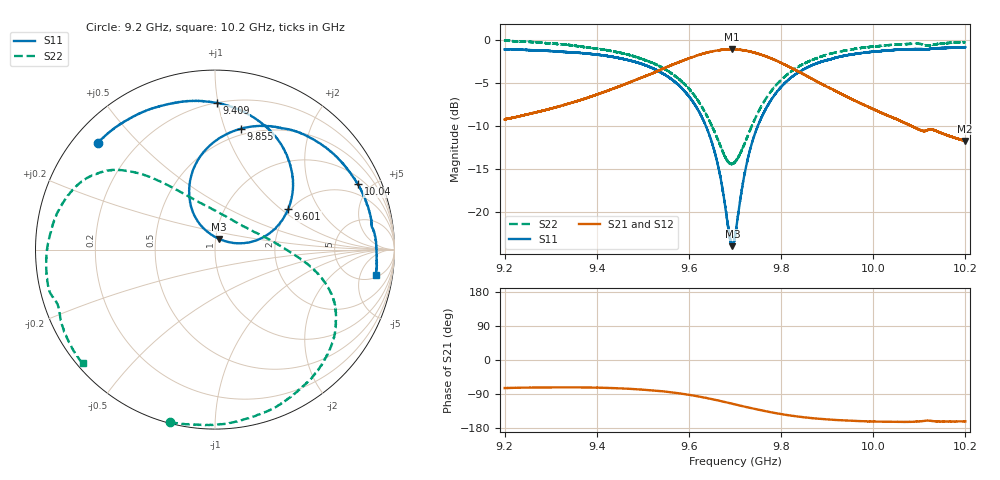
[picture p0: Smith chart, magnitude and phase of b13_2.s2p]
!Agilent Technologies,N5242A,MY51221714,A.09.90.19
!Agilent N5242A: A.09.90.19
!Date: Tuesday, March 26, 2024 16:49:14
!Correction: S11(Full 2 Port(1,2))
!S21(Full 2 Port(1,2))
!S12(Full 2 Port(1,2))
!S22(Full 2 Port(1,2))
!S2P File: Measurements: S11, S21, S12, S22:
# Hz S  dB  R 50
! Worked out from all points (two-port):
!   16001 points, 9.2 GHz to 10.2 GHz, reference 50 ohm
!   highest |S21| = -1.06 dB at 9.693 GHz (marker M1); lowest = -11.7 dB at 10.2 GHz (marker M2)
!   |S21| within 3 dB of the highest: 9.51136 GHz to 9.511447 GHz (87.55 kHz wide, 0.00092 % of centre); 9.512 GHz to 9.852 GHz (340 MHz wide, 3.51 % of centre)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
!   lowest |S11| = -24.0 dB at 9.695 GHz (marker M3), VSWR 1.14, Z = 52 + j6.14 ohm
!   |S11| at or under -10 dB: 9.637 GHz to 9.749 GHz (112.7 MHz wide, 1.16 % of centre)
!   |S22| runs from -14.4 to 0.0 dB; largest |S21 - S12| = 0.012
!   S11 on the Smith chart (normalised r, x): 9.2 GHz: 0.07, +0.39; 9.409 GHz: 0.20, +0.99; 9.601 GHz: 1.95, +1.12; 9.855 GHz: 0.44, +1.14; 10.04 GHz: 1.34, +4.18; 10.2 GHz: 6, -9
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9.2e9  -1.08 137.5  -9.23 -74.1  -9.19 -74.8  -0.06 -104.7
9.277625e9  -1.22 120.7  -8.29 -72.5  -8.27 -73.1  -0.29 -83.6
9.366688e9  -1.52 100.0  -6.95 -72.4  -6.93 -73.1  -0.77 -60.5
9.408875e9  -1.74 89.4  -6.18 -73.3  -6.16 -73.9  -1.06 -50.0
9.473438e9  -2.40 71.6  -4.87 -76.2  -4.88 -76.9  -1.76 -35.1
9.533375e9  -3.61 52.9  -3.58 -81.5  -3.56 -82.1  -2.96 -22.3
9.600938e9  -6.63 29.0  -2.12 -92.1  -2.10 -92.7  -5.70 -8.6
9.652688e9  -12.43 12.7  -1.29 -104.0  -1.28 -104.5  -10.31 11.0
9.693e9  -23.83 61.4  -1.06 -115.1  -1.06 -115.7  -14.40 61.5
9.694562e9  -23.98 68.4  -1.09 -115.6  -1.07 -116.1  -14.41 64.0
9.7e9  -22.91 91.4  -1.08 -117.2  -1.07 -117.7  -14.15 73.2
9.725375e9  -14.39 121.4  -1.26 -124.4  -1.23 -125.1  -11.47 106.1
9.75275e9  -9.57 115.5  -1.64 -131.7  -1.61 -132.3  -8.12 122.4
9.796e9  -5.71 99.6  -2.55 -141.9  -2.56 -142.5  -4.86 133.4
9.855e9  -3.23 77.9  -4.15 -151.9  -4.16 -152.5  -2.61 143.5
9.866688e9  -2.95 73.9  -4.49 -153.4  -4.49 -153.9  -2.34 145.5
9.936312e9  -1.83 52.4  -6.42 -159.5  -6.43 -160.1  -1.25 158.5
1.003338e10  -1.21 27.3  -8.84 -162.8  -8.81 -163.5  -0.59 179.4
1.004381e10  -1.16 24.6  -9.05 -163.2  -9.05 -163.7  -0.54 -178.3
1.009912e10  -1.04 11.9  -10.40 -162.2  -10.40 -162.7  -0.44 -165.8
1.019975e10  -0.85 -8.8  -11.75 -161.9  -11.75 -162.5  -0.25 -139.4
1.02e10  -0.84 -8.9  -11.73 -161.9  -11.74 -162.4  -0.25 -139.3
